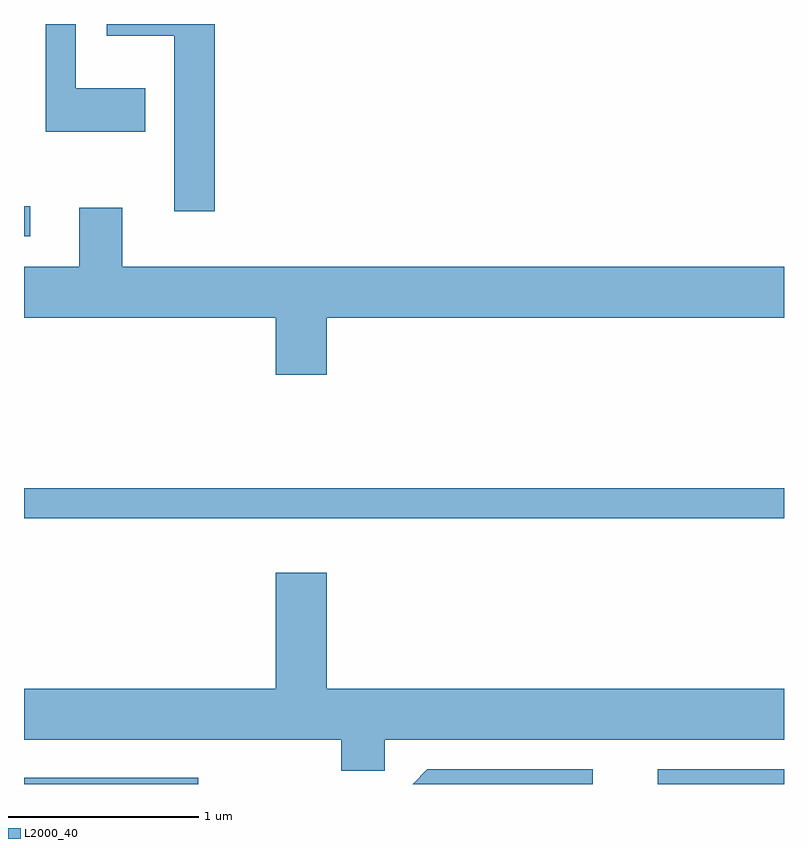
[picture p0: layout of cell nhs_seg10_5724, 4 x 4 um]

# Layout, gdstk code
import gdstk
lib = gdstk.Library(unit=1e-6, precision=1e-09)
def R(c, l, rs):  # rectangles x0, y0, x1, y1
    for r in rs: c.add(gdstk.rectangle(r[:2], r[2:], *l))
def P(c, l, *ps):  # polygons
    for p in ps: c.add(gdstk.Polygon(p, *l))
L2000_40 = (2000, 40)

nhs_seg10_5724 = lib.new_cell('nhs_seg10_5724')
R(nhs_seg10_5724, L2000_40, [(353.611,2162.522,354.529,2162.554), (356.946,2162.522,357.611,2162.599), (353.611,2163.921,357.611,2164.079), (353.611,2165.406,353.643,2165.564)])
P(nhs_seg10_5724, L2000_40, [(354.614,2166.522),(354.046,2166.522),(354.046,2166.461),(354.401,2166.461),(354.401,2165.536),(354.614,2165.536)],
  [(354.249,2166.184),(353.884,2166.184),(353.884,2166.522),(353.726,2166.522),(353.726,2165.956),(354.249,2165.956)],
  [(355.204,2164.976),(357.611,2164.976),(357.611,2165.244),(354.129,2165.244),(354.129,2165.554),(353.901,2165.554),(353.901,2165.244),(353.611,2165.244),(353.611,2164.976),(354.936,2164.976),(354.936,2164.676),(355.204,2164.676)],
  [(355.509,2162.756),(357.611,2162.756),(357.611,2163.024),(355.204,2163.024),(355.204,2163.634),(354.936,2163.634),(354.936,2163.024),(353.611,2163.024),(353.611,2162.756),(355.281,2162.756),(355.281,2162.591),(355.509,2162.591)],
  [(356.604,2162.599),(355.734,2162.599),(355.657,2162.522),(356.604,2162.522)])

lib.write_gds('nhs_seg10_5724.gds')
